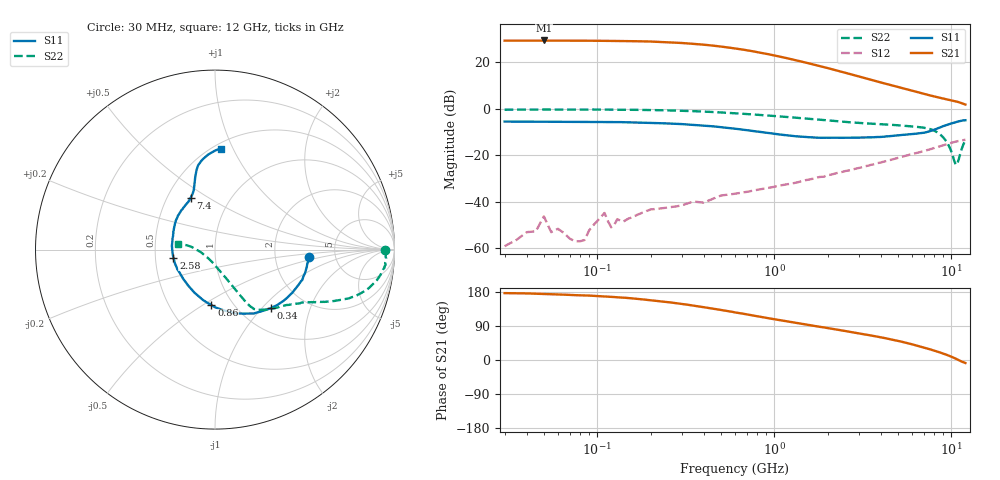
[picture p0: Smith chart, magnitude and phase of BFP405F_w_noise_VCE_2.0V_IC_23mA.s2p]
! Infineon Technologies  Discrete & RF Semiconductors
! BFP405F
! VCE =  2.0 V,  IC =  23 mA
! Common Emitter S-Parameters:  Nov 2015
# GHz  S  MA  R  50
!  f  S11  S21  S12  S22
! GHz  MAG  ANG  MAG  ANG  MAG  ANG  MAG  ANG
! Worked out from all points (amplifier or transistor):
!   239 points, 30 MHz to 12 GHz, reference 50 ohm
!   highest |S21| = 29.3 dB at 50 MHz (marker M1)
!   |S21| within 3 dB of that: start of sweep to 546.3 MHz
!   unconditionally stable (mu >= 1): start of sweep to 36.81 MHz; 70.66 MHz to 84 MHz; 1.286 GHz to end of sweep
!   at 300 MHz: K = 0.42, MSG = 34.9 dB, |S12| = -41.6 dB
!   at 1.88 GHz: K = 1.20, MAG = 20.9 dB, |S12| = -29.3 dB
!   at 12 GHz: K = 1.43, MAG = 3.7 dB, |S12| = -13.4 dB
!   lowest NFmin = 2.38 dB at 450 MHz
!   S11 on the Smith chart (normalised r, x): 30 MHz: 3.18, -0.35; 340 MHz: 1.37, -1.12; 860 MHz: 0.80, -0.54; 2.58 GHz: 0.62, -0.06; 7.4 GHz: 0.65, +0.42; 12 GHz: 0.55, +0.90
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0.03  0.5264 -4.3  28.96 176.5  0.0011 86.6  0.9469 -0.3
0.04  0.5239 -6.1  29.04 175.7  0.0022 43.0  0.9535 -0.9
0.05  0.5231 -7.4  29.22 174.2  0.0048 153.7  0.9551 -1.1
0.055  0.5216 -8.1  29.11 173.7  0.0022 121.3  0.9534 -1.4
0.085  0.519 -12.6  28.86 170.3  0.0015 63.9  0.9551 -3.3
0.11  0.5153 -16.4  28.65 167.6  0.0057 85.9  0.9507 -4.5
0.12  0.5143 -17.9  28.56 166.7  0.0028 141.5  0.9544 -5.1
0.15  0.5069 -22.1  28.35 163.5  0.0043 81.5  0.9441 -6.6
0.2  0.4935 -29.0  27.72 157.6  0.0068 83.2  0.932 -8.8
0.24  0.4824 -34.2  26.88 153.7  0.0073 74.4  0.9196 -10.5
0.34  0.4503 -46.4  24.91 144.4  0.0097 74.5  0.8842 -14.0
0.45  0.4163 -58.7  22.64 135.5  0.0115 74.8  0.8452 -16.9
0.6  0.3706 -73.4  19.69 125.6  0.0148 68.6  0.7936 -20.0
0.7  0.3433 -81.6  18 120.2  0.0162 70.0  0.7644 -21.3
0.86  0.3102 -93.7  15.62 113.0  0.0188 69.5  0.7237 -23.3
1.2  0.2655 -115.8  11.96 101.3  0.0238 69.3  0.6567 -26.3
1.64  0.2404 -137.6  9.009 90.9  0.0308 69.7  0.5962 -29.4
2.58  0.2359 -169.2  5.743 75.7  0.0459 69.3  0.5142 -36.8
4.5  0.2559 153.8  3.237 55.1  0.0782 62.9  0.45 -47.5
7.4  0.3191 115.1  1.966 29.5  0.1298 50.9  0.3716 -58.2
10.6  0.5112 97.2  1.43 3.4  0.1954 32.7  0.0618 -122.9
12  0.5624 86.7  1.223 -8.0  0.2146 24.4  0.2106 171.1
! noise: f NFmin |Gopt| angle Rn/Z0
0.45  2.38  0.02  -151  0.44
0.9  2.41  0.04  -143  0.29
1.5  2.48  0.07  -134  0.34
1.9  2.55  0.09  -131  0.43
2.4  2.73  0.1  -127  0.19
3  2.85  0.11  -124  0.2
3.5  2.94  0.12  -121  0.31
4.5  3.22  0.17  -107  0.53
5.5  3.59  0.31  -88  0.51
